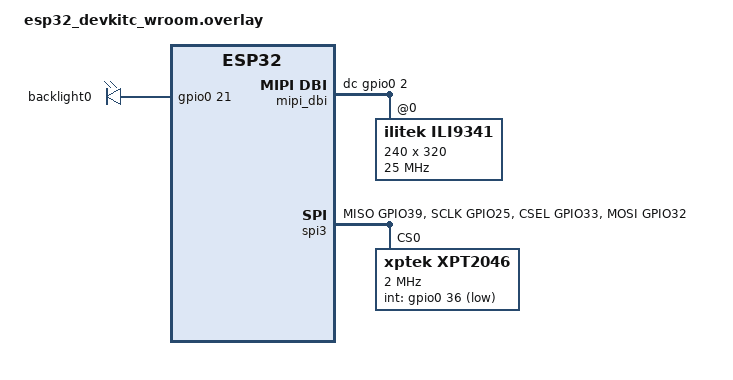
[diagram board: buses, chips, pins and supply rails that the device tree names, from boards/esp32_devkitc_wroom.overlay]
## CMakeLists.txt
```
cmake_minimum_required(VERSION 3.20.0)

find_package(Zephyr REQUIRED HINTS $ENV{ZEPHYR_BASE})
project(demo_display)

# Include the display
add_subdirectory(src/display)

target_sources(app PRIVATE src/main.c)

# Link the say_hello library to the application
target_link_libraries(app PRIVATE display)
```

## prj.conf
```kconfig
# Needed for display and LVGL (prevent stack overflow and crash)
CONFIG_LV_Z_MEM_POOL_SIZE=16384
CONFIG_LV_Z_SHELL=y
CONFIG_MAIN_STACK_SIZE=8192

CONFIG_LOG=y
CONFIG_LOG_DEFAULT_LEVEL=1
CONFIG_LOG_BACKEND_UART=y
CONFIG_SHELL=y

# Enable display driver (ST7735R)
CONFIG_DISPLAY=y
CONFIG_DISPLAY_LOG_LEVEL_ERR=y

# Enable display driver (XPT2046)
CONFIG_INPUT=y
CONFIG_INPUT_INIT_PRIORITY=60
CONFIG_INPUT_XPT2046=y

# Configure LVGL
CONFIG_LVGL=y
CONFIG_LV_MEM_CUSTOM=y
CONFIG_LV_Z_BITS_PER_PIXEL=16
CONFIG_LV_COLOR_16_SWAP=y
CONFIG_LV_Z_MEM_POOL_SIZE=8192
CONFIG_LV_Z_POINTER_INPUT=y

# Enable LVGL widgets
CONFIG_LV_USE_LOG=y
CONFIG_LV_USE_LABEL=y
CONFIG_LV_USE_BTN=y
CONFIG_LV_USE_ARC=y
CONFIG_LV_USE_IMG=y
CONFIG_LV_USE_MONKEY=y
CONFIG_LV_FONT_MONTSERRAT_14=y
```

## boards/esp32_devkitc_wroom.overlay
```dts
#include <zephyr/dt-bindings/mipi_dbi/mipi_dbi.h>

/ {
	aliases {
        backlight = &backlight0;
    };

    chosen {
        zephyr,display = &ili9341;
		zephyr,touch = &xpt2046;
    };

	pointer {
		compatible = "zephyr,lvgl-pointer-input";
		input = <&xpt2046>;
	};

	leds {
        compatible = "gpio-leds";
        backlight0: d21 {
            gpios = <&gpio0 21 GPIO_ACTIVE_HIGH>;
        };
    };

    mipi_dbi {
		compatible = "zephyr,mipi-dbi-spi";
		dc-gpios = <&gpio0 2 GPIO_ACTIVE_HIGH>;
		spi-dev = <&spi2>;
		write-only;
		#address-cells = <1>;
		#size-cells = <0>;

		ili9341: ili9341@0 {
			compatible = "ilitek,ili9341";
			mipi-max-frequency = <25000000>;
			reg = <0>;
			pixel-format = <0>;
			rotation = <0>;
			width = <240>;
			height = <320>;
		};
	};
};

&spi3 {
	pinctrl-0 = <&spim3_custom_pins>;
	status = "okay";
	xpt2046: xpt2046@0 {
		compatible = "xptek,xpt2046";
		spi-max-frequency = <2000000>;
		reg = <0x0>;
		int-gpios = <&gpio0 36 GPIO_ACTIVE_LOW>;
		touchscreen-size-x = <240>;
		touchscreen-size-y = <240>;
		min-x = <0>;
		min-y = <0>;
		max-x = <240>;
		max-y = <240>;
	};
};


&pinctrl{
	spim3_custom_pins: spim3_custom_pins {
		group1 {
			pinmux = <SPIM3_MISO_GPIO39>,
				 <SPIM3_SCLK_GPIO25>,
				 <SPIM3_CSEL_GPIO33>;
		};
		group2 {
			pinmux = <SPIM3_MOSI_GPIO32>;
			output-low;
		};
	};
};
```

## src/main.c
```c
#include "display/display.h"
#include <zephyr/kernel.h>



int main(void)
{
    init_display();

    draw_content();

    while (true) {
        update_display();
    }
}
```
